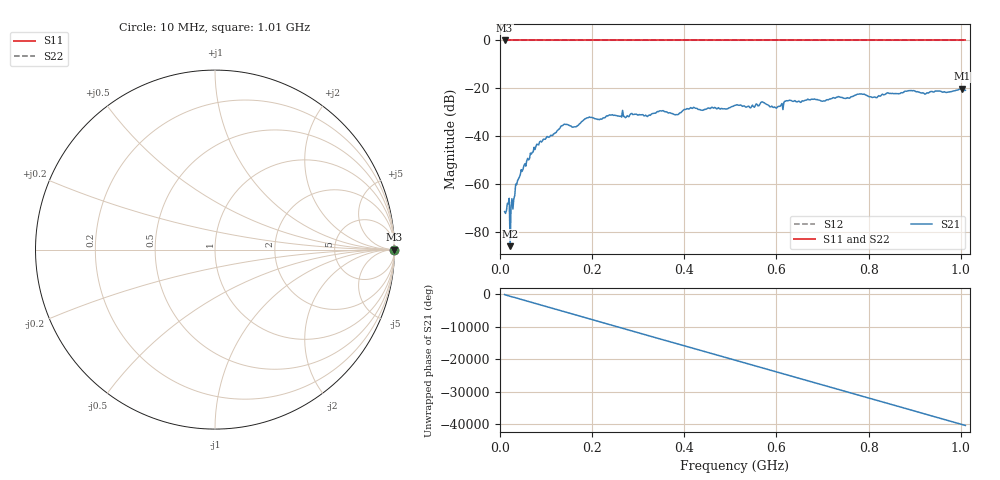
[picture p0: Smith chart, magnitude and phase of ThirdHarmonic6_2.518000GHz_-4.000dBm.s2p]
! 8/17/2025 4:56:15 AM
! C:\ANRITSUVNA\TEMP\TEMP.S2P
! CHANNEL.1
! TR.MEASUREMENT
! RAW.DATA
! RF.CORRECTION.OFF
! AVERAGING.OFF
! IF.BANDWIDTH: 5KHZ
! SWEEPTYPE:  FREQ.SWEEP(Linear)
! Reference Plane Port Info
! PORT:  PORT1  PORT2
! DISTANCE:  0  m  0  m
! TIME:  0  s  0  s
! PHASE.OFFSET:  0  deg.  0  deg.
! LOSS:  0  dB  0  dB
! REF.LOSS:  0  dB  0  dB
! REF.FREQ:  0  Hz  0  Hz
! Power Info
! POWER:  -20  dBm  -20  dBm
! EFF.POWER:  -20  dBm  -20  dBm
! SOURCE.ATTEN:  0  dB  0  dB
! TEST.ATTEN:  0  dB  0  dB
# GHZ S RI R 50.0
! FREQ.GHZ  S11RE  S11IM  S21RE  S21IM  S12RE  S12IM  S22RE  S22IM
!; PortSelection: Port_12
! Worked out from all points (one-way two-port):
!   501 points, 10 MHz to 1.01 GHz, reference 50 ohm
!   highest |S21| = -20.16 dB at 1.002 GHz (marker M1); lowest = -86.1 dB at 22 MHz (marker M2)
!   lowest |S11| = 0.0 dB at 10 MHz (marker M3)
!   |S11| at or under -10 dB: nowhere
!   |S22| runs from 0.0 to 0.0 dB; largest |S21 - S12| = 1.1
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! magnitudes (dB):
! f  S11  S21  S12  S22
! 10 MHz  0.0  -71.6  0.0  0.0
! 16 MHz  0.0  -68.1  0.0  0.0
! 22 MHz  0.0  -86.1  0.0  0.0
! 26 MHz  0.0  -66.2  0.0  0.0
! 34 MHz  0.0  -60.1  0.0  0.0
! 42 MHz  0.0  -57.2  0.0  0.0
! 78 MHz  0.0  -44.3  0.0  0.0
! 136 MHz  0.0  -35.6  0.0  0.0
! 162 MHz  0.0  -36.1  0.0  0.0
! 178 MHz  0.0  -33.8  0.0  0.0
! 344 MHz  0.0  -29.8  0.0  0.0
! 382 MHz  0.0  -31.0  0.0  0.0
! 416 MHz  0.0  -28.4  0.0  0.0
! 510 MHz  0.0  -27.2  0.0  0.0
! 548 MHz  0.0  -27.1  0.0  0.0
! 570 MHz  0.0  -25.7  0.0  0.0
! 598 MHz  0.0  -28.2  0.0  0.0
! 622 MHz  0.0  -25.2  0.0  0.0
! 678 MHz  0.0  -24.6  0.0  0.0
! 844 MHz  0.0  -22.1  0.0  0.0
! 1.002 GHz  0.0  -20.2  0.0  0.0
! 1.01 GHz  0.0  -20.9  0.0  0.0
